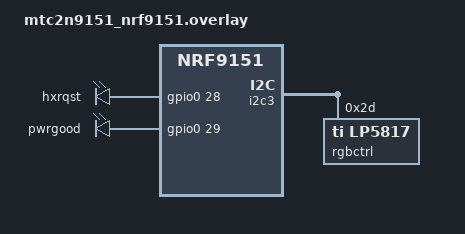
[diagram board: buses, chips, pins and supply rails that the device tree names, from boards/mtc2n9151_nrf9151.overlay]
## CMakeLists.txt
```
# SPDX-License-Identifier: Apache-2.0

cmake_minimum_required(VERSION 3.20.0)

# Pull in the out-of-tree RGB indicator driver module (LP5817 driver + DT binding)
list(APPEND EXTRA_ZEPHYR_MODULES "C:/NCS/loouq/modules/rgb-indicator")

find_package(Zephyr REQUIRED HINTS $ENV{ZEPHYR_BASE})
project(rgbindicator VERSION 1.0.0 DESCRIPTION "RGB indicator using TI LED controller")

set(LOOUQ_BASE "C:/NCS/loouq")
message(STATUS "Zephyr at: ${ZEPHYR_BASE}")
message(STATUS "LooUQ at: ${LOOUQ_BASE}")

# *** extract all CMAKE variables to output ***
# get_cmake_property(all_vars VARIABLES)
# foreach(var ${all_vars})
#     message(STATUS "VAR: ${var}=${${var}}")
# endforeach()

target_sources(app PRIVATE src/main.c)
```

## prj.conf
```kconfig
CONFIG_GPIO=y
CONFIG_I2C=y
CONFIG_RGB_INDICATOR=y
```

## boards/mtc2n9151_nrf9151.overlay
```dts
//#include "../mtc2n9151_pin-disable.overlay"

/ {
    pins {
        compatible = "gpio-leds";

        hxrqst: pin_1 {
            gpios = <&gpio0 28 GPIO_ACTIVE_HIGH>;
        };
        pwrgood: pin_0 {
            gpios = <&gpio0 29 GPIO_ACTIVE_HIGH>;
        };

        // pt0: pt_0 {
            // gpios = <&gpio0 0 GPIO_ACTIVE_HIGH>;
            // gpios = <&gpio0 8 GPIO_ACTIVE_HIGH>;
            // gpios = <&gpio0 16 GPIO_ACTIVE_HIGH>;
            // gpios = <&gpio0 24 GPIO_ACTIVE_HIGH>;
        // };

        // pt1: pt_1 {
        //     gpios = <&gpio0 1 GPIO_ACTIVE_HIGH>;
            // gpios = <&gpio0 9 GPIO_ACTIVE_HIGH>;
            // gpios = <&gpio0 17 GPIO_ACTIVE_HIGH>;
            // gpios = <&gpio0 25 GPIO_ACTIVE_HIGH>;
        // };

        // pt2: pt_2 {
        //     gpios = <&gpio0 2 GPIO_ACTIVE_HIGH>;
            // gpios = <&gpio0 10 GPIO_ACTIVE_HIGH>;
            // gpios = <&gpio0 18 GPIO_ACTIVE_HIGH>;
            // gpios = <&gpio0 26 GPIO_ACTIVE_HIGH>;
        // };

        // pt3: pt_3 {
        //     gpios = <&gpio0 3 GPIO_ACTIVE_HIGH>;
            // gpios = <&gpio0 11 GPIO_ACTIVE_HIGH>;
            // gpios = <&gpio0 19 GPIO_ACTIVE_HIGH>;
            // gpios = <&gpio0 27 GPIO_ACTIVE_HIGH>;
        // };

        // pt4: pt_4 {
        //     gpios = <&gpio0 4 GPIO_ACTIVE_HIGH>;
            // gpios = <&gpio0 12 GPIO_ACTIVE_HIGH>;
            // gpios = <&gpio0 20 GPIO_ACTIVE_HIGH>;
            // gpios = <&gpio0 28 GPIO_ACTIVE_HIGH>;
        // };

        // pt5: pt_5 {
        //     gpios = <&gpio0 5 GPIO_ACTIVE_HIGH>;
            // gpios = <&gpio0 13 GPIO_ACTIVE_HIGH>;
            // gpios = <&gpio0 21 GPIO_ACTIVE_HIGH>;
            // gpios = <&gpio0 29 GPIO_ACTIVE_HIGH>;
        // };

        // pt6: pt_6 {
        //     gpios = <&gpio0 6 GPIO_ACTIVE_HIGH>;
        //     // gpios = <&gpio0 14 GPIO_ACTIVE_HIGH>;
        //     // gpios = <&gpio0 22 GPIO_ACTIVE_HIGH>;
        //     // gpios = <&gpio0 30 GPIO_ACTIVE_HIGH>;
        // };

        // pt7: pt_7 {
        //     gpios = <&gpio0 7 GPIO_ACTIVE_HIGH>;
            // gpios = <&gpio0 15 GPIO_ACTIVE_HIGH>;
            // gpios = <&gpio0 23 GPIO_ACTIVE_HIGH>;
            // gpios = <&gpio0 31 GPIO_ACTIVE_HIGH>;
        // };
    };


    // aliases {
    //     pt0 = &pt6;
    //     pt1 = &pt6;
    //     pt2 = &pt6;
    //     pt3 = &pt6;
    //     pt4 = &pt6;
    //     pt5 = &pt6;
    //     // pt6
    //     pt7 = &pt6;
    // };
};

// &i2c2 {
//     bmp: bmp581@47 {
//         compatible = "bosch,bmp581";
//         reg = <0x47>;
//     };

//     sht: sht45@44 {
//         compatible = "sensirion,sht4x";
//         reg = <0x44>;
//         repeatability = <0>;
//     };
// };


&i2c3 {                                                 // RGB on the HX bus
    rgbctrl: rgb-indicator@2d {
        compatible = "ti,lp5817";
        reg = <0x2d>;
        max-current = <1>;
        dot-current = [80 80 80];        /* 0x80 = 128 per channel */
        color-mapping = [00 01 02];      /* R->OUT0  G->OUT1  B->OUT2 (straight wiring) */
    };
};
```

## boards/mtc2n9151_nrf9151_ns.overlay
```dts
//#include "../mtc2n9151_pin-disable.overlay"

/ {
    pins {
        compatible = "gpio-leds";

        hxctrl: pin_0 {
            gpios = <&gpio0 29 GPIO_ACTIVE_HIGH>;
        };

    };
    keys {
        compatible = "gpio-keys";
        hxrqst: pin_1 {
            gpios = <&gpio0 28 GPIO_ACTIVE_HIGH>;
        };
    };

};

// &i2c2 {
//     bmp: bmp581@47 {
//         compatible = "bosch,bmp581";
//         reg = <0x47>;
//     };

//     sht: sht45@44 {
//         compatible = "sensirion,sht4x";
//         reg = <0x44>;
//         repeatability = <0>;
//     };
// };


&i2c3 {                                                 // RGB on the HX bus
    rgbctrl: rgb-indicator@2d {
        compatible = "ti,lp5817";
        reg = <0x2d>;
        max-current = <1>;
        dot-current = [80 80 80];        /* 0x80 = 128 per channel */
        color-mapping = [00 01 02];      /* R->OUT0  G->OUT1  B->OUT2 (straight wiring) */
    };
};
```

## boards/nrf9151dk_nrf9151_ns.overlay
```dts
/ {
    pins {
        compatible = "gpio-leds";

        pt2: pt_2 {
            gpios = <&gpio0 2 GPIO_ACTIVE_HIGH>;
        };

        pt3: pt_3 {
            gpios = <&gpio0 3 GPIO_ACTIVE_HIGH>;
        };

        pt6: pt_6 {
            gpios = <&gpio0 6 GPIO_ACTIVE_HIGH>;
        };

        pt7: pt_7 {
            gpios = <&gpio0 7 GPIO_ACTIVE_HIGH>;
        };
    };


    aliases {
        pt0 = &led0;
        pt1 = &led1;
        pt4 = &led2;
        pt5 = &led3;
    };
};
```

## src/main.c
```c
/*
 * Copyright (c) 2025 LooUQ Incorporated
 * SPDX-License-Identifier: Apache-2.0
 */

#include <stdio.h>
#include <zephyr/kernel.h>
#include <zephyr/device.h>
#include <zephyr/drivers/gpio.h>

#include <zephyr/logging/log.h>
LOG_MODULE_REGISTER(rgbi, LOG_LEVEL_INF);

#include <rgb_indicator.h>

#define LOOP_SLEEP_MS 1000
#define COLOR_SLEEP_MS 500

#define HXRQST_NODE DT_NODELABEL(hxrqst)
#define HXCTRL_NODE DT_NODELABEL(hxctrl)
#define RGBCTRL_NODE DT_NODELABEL(rgbctrl)

static const struct gpio_dt_spec hxrqst = GPIO_DT_SPEC_GET(HXRQST_NODE, gpios);
static const struct gpio_dt_spec hxctrl = GPIO_DT_SPEC_GET(HXCTRL_NODE, gpios);
static const struct device *const rgbi = DEVICE_DT_GET(RGBCTRL_NODE);

// #define BMP_NODE DT_NODELABEL(bmp)
// #define SHT_NODE DT_NODELABEL(sht)
// static const struct i2c_dt_spec bmp_snsr = I2C_DT_SPEC_GET(BMP_NODE);
// static const struct i2c_dt_spec sht_snsr = I2C_DT_SPEC_GET(SHT_NODE);

// static const struct led_rgb LED_OFF = RGB(0,0,0);
// static const struct led_rgb LED_RED = RGB(100,0,0);
// static const struct led_rgb LED_GREEN = RGB(0,100,0);
// static const struct led_rgb LED_BLUE = RGB(0,0,100);

static const struct led_rgb colors[] = {
    RGB(0, 0, 0),
    RGB(100, 0, 0),         /* red */
    RGB(0, 0, 0),
    RGB(0, 100, 0),         /* green */
    RGB(0, 0, 0),
    RGB(0, 0, 100),         /* blue */
    RGB(0, 0, 0),
    RGB(100, 100, 100),     /* white */
    RGB(0, 0, 0),
    RGB(100, 100, 0),       /* yellow */ 
    RGB(0, 0, 0),
    RGB(0, 100, 100),       /* cyan */
    RGB(0, 0, 0),
    RGB(100, 0, 100),       /* magenta */
    RGB(0, 0, 0)
};

int main(void)
{
    int ret;
    int loopcount = 0;

    printf("Hello %s, welcome to the IoT world and watch out for green flashes on the horizon! \r\n", CONFIG_BOARD_TARGET);

    if (!gpio_is_ready_dt(&hxrqst) ||
        !gpio_is_ready_dt(&hxctrl) ||
        !device_is_ready(rgbi)
       )
    {
        LOG_ERR("Required devices not ready");
        return 0;
    }

    ret  = gpio_pin_configure_dt(&hxrqst, GPIO_OUTPUT_ACTIVE) < 0 ? 1 : 0;
    ret += gpio_pin_configure_dt(&hxctrl, GPIO_OUTPUT_ACTIVE) < 0 ? 1 : 0;
    if (ret != 0)
    {
        LOG_ERR("Unable to configure I/O");
        return 0;
    }

    for (size_t i = 0; i < sizeof(colors)/sizeof(struct led_rgb); i++)       // cycle through primary/secondary colors
    {
        rgbi_set_color(rgbi, &colors[i]);
        k_msleep(COLOR_SLEEP_MS);
    }

    while (1)
    {
        ret =  gpio_pin_toggle_dt(&hxrqst) < 0 ? 1 : 0;
        ret += gpio_pin_toggle_dt(&hxctrl) < 0 ? 1 : 0;
        if (ret != 0)
        {
            LOG_ERR("I/O error on pin output");
            return 0;
        }

        loopcount++;

        int colorIndx = loopcount % (sizeof(colors)/sizeof(struct led_rgb));
        rgbi_set_color(rgbi, &colors[colorIndx]);

        printf("Loops: %d (%d)\n", loopcount, colorIndx);
        k_msleep(LOOP_SLEEP_MS);
    }
    return 0;
}
```

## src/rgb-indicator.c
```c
/*
 * Copyright 2025 LooUQ Incorporated
 *
 * SPDX-License-Identifier: Apache-2.0
 */

#include <zephyr/kernel.h>
#include <zephyr/drivers/i2c.h>
#include <zephyr/sys_clock.h>

#include "rgb-indicator.h"

#include <zephyr/logging/log.h>
LOG_MODULE_REGISTER(rgb_indicator);

const uint8_t dot_current[] = { 128, 128, 128 };                                // relative brightness of each RGB channel

/* Private service function declarations
 * -------------------------------------------------------------------------------------------- */
static int lp5817_init(const struct i2c_dt_spec *rgb_ctrllr);
static void lp5817_setColor(const struct i2c_dt_spec *rgb_ctrllr, uint8_t red, uint8_t green, uint8_t blue);
static void flashTimerExpiry(struct k_timer *flashTimer);                       // ISR for timer expiry
static void flashDisplay_handler(struct k_work *work);                          // workqueue handler for flash actions
static inline bool isFlashing(rgb_indicator_t * indicator);                     // quick check for active flash session


/* ------------------------------------------------------------------------------------------------
 * Public API
 * --------------------------------------------------------------------------------------------- */

/**
 * @brief Initialize RGB indicator device and driver
 * 
 * @param rgb_dev TI LP5817 RGB controller device 
 * @param rgbi RGB indicator struct holding display parameters
 * @return int 0 = success
 */
int rgbi_init(const struct i2c_dt_spec *rgb_dev, rgb_indicator_t * rgbi)
{
    int ret = -1;

    if (lp5817_init(rgb_dev) == 0)                              // initialize/validate LP5817 before building object
    {
        ret = 0;                                                // clear err return
        rgbi->rgbdev = rgb_dev;

        k_timer_init(&(rgbi->flashTimer), flashTimerExpiry, NULL);
        k_timer_user_data_set(&(rgbi->flashTimer), rgbi);
        k_work_init(&(rgbi->flashWork), flashDisplay_handler);
    }

    return ret;
}


/**
 * @brief Set the RGB contoller to display a color from a RGB struct
 * 
 * @param rgbi Indicator device to control
 * @param channels RBG structure containing red, green, and blue channels 
 */
void rgbi_setColor(rgb_indicator_t *rgbi, const struct led_rgb * channels)
{
    lp5817_setColor(rgbi->rgbdev, channels->r, channels->g, channels->b);
}


/**
 * @brief Set the RGB contoller to display a color using 3 channel values
 * 
 * @param rgbi Indicator device to control
 * @param red The red channel intensity (scale is 0=off to 255=full intensity)
 * @param green The green channel intensity
 * @param blue The blue channel intensity
 */
void rgbi_setColorFromPixels(rgb_indicator_t *rgbi, rgbi_color red, rgbi_color green, rgbi_color blue)
{
    lp5817_setColor(rgbi->rgbdev, red, green, blue);
}


/**
 * @brief Turn indicator off
 *
 * @param rgbi The RGB indicator to actuate
 */
void rgbi_off(rgb_indicator_t *rgbi)
{
    if (!isFlashing(rgbi))                                       // do not change indicator if flash sequence underway
    {
        rgbi_setColorFromPixels(rgbi, 0, 0, 0);
    }
}


/**
 * @brief Setup/initiate a indicator flash sequence
 * 
 * @param rgbi The RGB indicator to actuate
 * @param colors The color set to display when flash indicates ON
 * @param onDuration The amount of time the indicator is on
 * @param offDuration The amount of time the indicator is off
 * @param count The number of "on" flashes to display, if count==0 the flash sequence continues until cancelled
 */
void rgbi_flash(rgb_indicator_t *rgbi, struct led_rgb * pixels, k_timeout_t onDuration, k_timeout_t offDuration, uint8_t count)
{
    rgbi->onDuration = onDuration;
    rgbi->offDuration = offDuration;
    rgbi->flashesAsked = count;                                        // number of ON pulses OR 0==continuous
    rgbi->flashesPerformed = 0;
    memcpy(&(rgbi->pixels), pixels, sizeof(struct led_rgb));           // copy pixels into object (for next flash ON event)

    rgbi_setColor(rgbi, pixels);                                       // start the sequence, the flashExpiry() callback will take it from here
    k_timer_start(&(rgbi->flashTimer), rgbi->onDuration, K_NO_WAIT);
    rgbi->flashState = 1;
}


/**
 * @brief Let caller know if the indicator in busy displaying a flash sequence
 * 
 * @param rgbi The RGB indicator to actuate
 * @return true Flash sequence is underway, could be continuous
 * @return false The indicator is idle (not executing a flash sequence)
 */
bool rgbi_isBusy(rgb_indicator_t *rgbi)
{
    return isFlashing(rgbi);
}


/**
 * @brief Cancel flash sequence, if underway, and turn indicator off
 * 
 * @param rgbi The RGB indicator to actuate
 */
void rgbi_cancel(rgb_indicator_t *rgbi)
{
    k_timer_stop(&(rgbi->flashTimer));                         // stop timer, prevent expiry
    rgbi->onDuration = K_NO_WAIT;                              // clear flashing: onDuration==0 indicates idle
    rgbi_off(rgbi);                                            // idle state is LED OFF
}


/* Private service functions definitions
 * --------------------------------------------------------------------------------------------- */

 /**
 * @brief Initialize TI LP5817 chip for use
 * 
 * @param rgb_ctrl The device spec for the RGB LED controller 
 * @return int 0=success
 */
static int lp5817_init(const struct i2c_dt_spec *rgb_ctrllr)
{
	int ret;
    uint8_t cmd[2];

    /* Write CHIP_EN = 1 to enable controller
     * Set max current (chip and ouputs)
     * Enable outputs
     * Send UPDATE_CMD to activate configuration
     */

    if (!device_is_ready(rgb_ctrllr->bus)) {
        LOG_ERR("I2C bus %s is not ready!\n\r",rgb_ctrllr->bus->name);
        return 0;
    }

    cmd[0] = LP5817_REG_CHIPENABLE;
    cmd[1] = LP5817_CMD_CHIPENABLE;
    ret = i2c_write_dt(rgb_ctrllr, cmd, sizeof(cmd));
    if (ret != 0)
    {
        LOG_ERR("Failed to write chip enable (%x) to LP5817@%x err=%d\r\n", cmd[0], rgb_ctrllr->addr, ret);
    }

    cmd[0] = LP5817_REG_MAXCURRENT;
    cmd[1] = LP5817_CMD_MAXCURRENT;
    ret = i2c_write_dt(rgb_ctrllr, cmd, sizeof(cmd));
    if (ret != 0)
    {
        LOG_ERR("Failed to set LP5817 chip-level max current\r\n");
    }

    ret = 0;
    for (size_t i = 0; i < 3; i++)
    {
        cmd[0] = LP5817_REG_DOTCURRENT_0 + i;
        cmd[1] = dot_current[i];                                        // apply dot (channel) configured current (brightness adjustment)
        ret += i2c_write_dt(rgb_ctrllr, cmd, sizeof(cmd));
    }
    if (ret != 0)
    {
        LOG_ERR("Failed to set LP5817 DOT (channel) current\r\n");
    }

    cmd[0] = LP5817_REG_OUTENABLE;
    cmd[1] = LP5817_CMD_OUTENABLE;
    ret = i2c_write_dt(rgb_ctrllr, cmd, sizeof(cmd));
    if (ret != 0)
    {
        LOG_ERR("Failed to enable channels\r\n");
    }


    lp5817_setColor(rgb_ctrllr, 0, 0, 0);

    cmd[0] = LP5817_REG_UPDATE;
    cmd[1] = LP5817_CMD_UPDATE;
    ret = i2c_write_dt(rgb_ctrllr, cmd, sizeof(cmd));
    if (ret != 0)
    {
        LOG_ERR("Failed to apply settings to LP5817\r\n");
    }

    // uint8_t val;
    // i2c_reg_read_byte_dt(rgb_ctrllr, LP5817_REG_OUTENABLE, &val);
    // if (val != 0)
    // {
    //     LOG_WRN("Warning: LP5817 is not enabled\r\n");
    // }

    return ret;
}


static void lp5817_setColor(const struct i2c_dt_spec *rgb_ctrllr, uint8_t red, uint8_t green, uint8_t blue)
{
   	int ret;
    uint8_t cmd[2];

    // per TI documentation 0x18, 0x 19, 0x1a. But doesn't seem to be that way
    // cmd[0] = LP5817_REG_INTENSITY0;      // red
    // cmd[0] = LP5817_REG_INTENSITY1;      // green
    // cmd[0] = LP5817_REG_INTENSITY2;      // blue

    cmd[0] = LP5817_REG_INTENSITY2;
    cmd[1] = red;
    ret = i2c_write_dt(rgb_ctrllr, cmd, sizeof(cmd));

    cmd[0] = LP5817_REG_INTENSITY0;
    cmd[1] = green;
    ret = i2c_write_dt(rgb_ctrllr, cmd, sizeof(cmd));

    cmd[0] = LP5817_REG_INTENSITY1;
    cmd[1] = blue;
    ret = i2c_write_dt(rgb_ctrllr, cmd, sizeof(cmd));

    if (ret != 0)
    {
    	LOG_ERR("Could not update indicator");
    }

}


/**
 * @brief ISR to service end of flash duration
 * 
 * @param flashTimer Timer object
 */
static void flashTimerExpiry(struct k_timer *flashTimer)
{
    rgb_indicator_t * rgbi = (rgb_indicator_t *)k_timer_user_data_get(flashTimer);     // get rgb indicator object from timer
    k_work_submit(&(rgbi->flashWork));                                                 // submit the work item to system WQ to update flash sequence
}


/**
 * @brief Handler to perform RGB indicator update (flash ON>>OFF or OFF>>ON)
 * 
 * @param work workqueue item to process
 */
static void flashDisplay_handler(struct k_work *work)
{
    rgb_indicator_t *rgbi = CONTAINER_OF(work, rgb_indicator_t, flashWork);            // get parent structure: rgb indicator struct
    // rgb_indicator_t * indicator = (rgb_indicator_t *)k_timer_user_data_get(flashTimer);

    if (rgbi->onDuration.ticks > 0)
    {
        if (rgbi->flashState)                                              // is ON currently
        {
            rgbi_setColorFromPixels(rgbi, 0, 0, 0);                        // can't use rgbi_off inside flash sequence
            rgbi->flashState = 0;
            rgbi->flashesPerformed++;                                      // completed an ON flash

            if (rgbi->flashesPerformed < rgbi->flashesAsked ||        // still flashes to perform
                rgbi->flashesAsked == 0)                                   // OR IF continuous flash sequence
            {
                k_timer_start(&(rgbi->flashTimer), rgbi->offDuration, K_NO_WAIT);    // wait out OFF (for next ON event)
            }
            else                                                                // done with flash sequence, reset
            {
                rgbi->flashesAsked = 0;                                    
                rgbi->flashesPerformed = 0;
                rgbi->onDuration = K_NO_WAIT;                              // signal done
            }
        }
        else                                                                    // indicator is OFF
        {
            rgbi->flashState = 1;
            if (rgbi->flashesPerformed < rgbi->flashesAsked)
            {
                rgbi_setColor(rgbi, &(rgbi->pixels));                 // turn indicator ON
                k_timer_start(&(rgbi->flashTimer), rgbi->onDuration, K_NO_WAIT);
            }
        }
    }
}


/**
 * @brief Inline function to determine if the indicator is currently busy with previously issued flash sequence command
 * 
 * @param rgbi RGB indicator device
 * @return true Indicator is busy 
 * @return false Indicator is idle
 */
static inline bool isFlashing(rgb_indicator_t * rgbi)
{
    return rgbi->onDuration.ticks > 0;
}
```

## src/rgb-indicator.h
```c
/*
 * Copyright 2025 LooUQ Incorporated
 *
 * SPDX-License-Identifier: Apache-2.0
 */

#ifndef RGB_INDICATOR 
#define RGB_INDICATOR 

#include <stdlib.h>
#include <stdint.h>
#include <stdbool.h>
#include <zephyr/sys_clock.h>
#include <zephyr/kernel.h>
#include <zephyr/drivers/i2c.h>


/* Temporary channel assignments, board issue
 * Out-0 = Green, Out-1 = Blue, Out-2 = Red
 * Normal is Red/Green/Blue
 */

#define LP5817_REG_CHIPENABLE 0x00
#define LP5817_REG_MAXCURRENT 0x01
#define LP5817_REG_OUTENABLE 0x02
#define LP5817_REG_DOTCURRENT_0 0x14
#define LP5817_REG_DOTCURRENT_1 0x15
#define LP5817_REG_DOTCURRENT_2 0x16
#define LP5817_REG_UPDATE 0x0f

#define LP5817_REG_INTENSITY0 0x18
#define LP5817_REG_INTENSITY1 0x19
#define LP5817_REG_INTENSITY2 0x1a

#define LP5817_CMD_CHIPENABLE 0x01
#define LP5817_CMD_MAXCURRENT 0x01
#define LP5817_CMD_MAXCURRENT_0 0xff
#define LP5817_CMD_MAXCURRENT_1 0xcc
#define LP5817_CMD_MAXCURRENT_2 0xcc
#define LP5817_CMD_OUTENABLE 0X07
#define LP5817_CMD_UPDATE 0x55

struct led_rgb 
{
	uint8_t r;              // red channel
	uint8_t g;              // green channel
	uint8_t b;              // blue channel
};

#define RGB(_r, _g, _b) {.r = (_r), .g = (_g), .b = (_b)}
#define CREATE_RGB_PIXELS(_p,_r,_g,_b)  struct led_rgb _p = { .r = _r, .g = _g, .b = _b };


typedef uint8_t rgbi_color;

typedef struct _rgb_indicator
{
    const struct i2c_dt_spec *rgbdev;
    uint8_t brightness;                                 // 0-255, adj color channel 0-99 input to physical chip intensity
    struct led_rgb pixels;                              // stay consistent with Zephyr library led_strip.h
    uint8_t flashesAsked;
    uint8_t flashesPerformed;
    k_timeout_t onDuration;
    k_timeout_t offDuration;
    struct k_timer flashTimer;
    uint8_t flashState;
    struct k_work flashWork;
} rgb_indicator_t;


/**
 * @brief Initialize RGB indicator hardware and driver 
 * 
 * @param rgb_ctrllr Physical RGB controller devices
 * @param rgbi RGB indicator structure
 * @return int Error indicator, 0=success
 */
int rgbi_init(const struct i2c_dt_spec *rgb_ctrllr, rgb_indicator_t * rgbi);


/**
 * @brief Set the color of the display using a led_rgb struct
 * 
 * @param indicator Device spec pointer to the indicator to operate
 * @param pixels The structure containing the red, green, and blue color pixels.
 */
void rgbi_setColor(rgb_indicator_t * rgbi, const struct led_rgb * pixels);                                 // set color and display


/**
 * @brief Set the color of the display using individual color values
 * 
 * @param indicator Device spec pointer to the indicator to operate
 * @param red Brightness of the red channel 0 (off) to 255 (full brightness)
 * @param green Brightness of the green channel 0 (off) to 255 (full brightness)
 * @param blue Brightness of the blue channel 0 (off) to 255 (full brightness)
 */
void rgbi_setColorFromPixels(rgb_indicator_t * rgbi, rgbi_color red, rgbi_color green, rgbi_color blue);   // set color and display


/**
 * @brief Shut indicator off, all channels to 0
 * 
 * @param indicator Device spec pointer to the indicator to operate
 */
void rgbi_off(rgb_indicator_t * rgbi);                                                                     // set all channels to 0 = OFF


/**
 * @brief Perform (display) a flash sequence on the indicator
 * 
 * @param indicator Device spec pointer to the indicator to operate
 * @param pixels The color to display when the indicator is in the ON state
 * @param onDuration The period of time the indicator should be ON in a flash iteration
 * @param offDuration The period of time the indicator should be OFF in a flash iteration
 * @param count The number of flashes, ON/OFF sequences, that should be performed.
 */
void rgbi_flash(rgb_indicator_t * rgbi, struct led_rgb * pixels, k_timeout_t onDuration, k_timeout_t offDuration, uint8_t count);


/**
 * @brief Perform a continuous flash sequence until manually cancelled
 * 
 * @param indicator Device spec pointer to the indicator to operate
 * @param pixels The color to display when the indicator is in the ON state
 * @param onDuration The period of time the indicator should be ON in a flash iteration
 * @param offDuration The period of time the indicator should be OFF in a flash iteration
 */
void rgbi_flash_continuous(rgb_indicator_t * rgbi, struct led_rgb pixels, k_timeout_t onDuration, k_timeout_t offDuration);


/**
 * @brief Stop/cancel a flash sequence. Required to end a continuous flash sequence, but can cut a normal count flash short. 
 * 
 * @param indicator Device spec pointer to the indicator to operate
 */
void rgbi_cancel(rgb_indicator_t * rgbi);


/**
 * @brief Determine if a flash sequence is underway. 
 * 
 * @param indicator Device spec pointer to the indicator to operate
 * @return true A flash sequence is running, can be a normal count flash or continuous
 * @return false The indicator is idle and not flashing.
 * 
 * @note The indicator may be ON (solid) or OFF. If your application needs to know ON
 * state color, you will need to record this information in your application.
 */
bool rgbi_isBusy(rgb_indicator_t * rgbi);

#endif
```

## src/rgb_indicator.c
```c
/*
 * Copyright 2025 LooUQ Incorporated
 *
 * SPDX-License-Identifier: Apache-2.0
 */

#include <zephyr/kernel.h>
#include <zephyr/drivers/i2c.h>
#include <zephyr/sys_clock.h>

#include "rgb_indicator.h"

#include <zephyr/logging/log.h>
LOG_MODULE_REGISTER(rgb_indicator);

const uint8_t dot_current[] = { 128, 128, 128 };                                // relative brightness of each RGB channel

/* Private service function declarations
 * -------------------------------------------------------------------------------------------- */
static int lp5817_init(const struct i2c_dt_spec *rgb_ctrllr);
static void flashTimerExpiry(struct k_timer *flashTimer);                       // ISR for timer expiry
static void flashDisplay_handler(struct k_work *work);                          // workqueue handler for flash actions
static inline bool isFlashing(rgb_indicator_t * indicator);                     // quick check for active flash session


/* ------------------------------------------------------------------------------------------------
 * Public API
 * --------------------------------------------------------------------------------------------- */

/**
 * @brief Initialize RGB indicator device and driver
 * 
 * @param rgb_dev TI LP5817 RGB controller device 
 * @param rgbi RGB indicator struct holding display parameters
 * @return int 0 = success
 */
int rgbi_init(const struct i2c_dt_spec *rgb_dev, rgb_indicator_t * rgbi)
{
    int ret = -1;

    if (lp5817_init(rgb_dev) == 0)                              // initialize/validate LP5817 before building object
    {
        ret = 0;                                                // clear err return
        rgbi->rgbdev = rgb_dev;

        k_timer_init(&(rgbi->flashTimer), flashTimerExpiry, NULL);
        k_timer_user_data_set(&(rgbi->flashTimer), rgbi);
        k_work_init(&(rgbi->flashWork), flashDisplay_handler);
    }

    return ret;
}


/**
 * @brief Set the RGB contoller to display a color from a RGB struct
 * 
 * @param rgbi Indicator device to control
 * @param channels RBG structure containing red, green, and blue channels 
 */
void rgbi_setColor(rgb_indicator_t *rgbi, const struct led_rgb * channels)
{
   	int ret;
    uint8_t cmd[2];

    // per TI documentation 0x18, 0x 19, 0x1a. But doesn't seem to be that way
    // cmd[0] = LP5817_REG_INTENSITY0;      // red
    // cmd[0] = LP5817_REG_INTENSITY1;      // green
    // cmd[0] = LP5817_REG_INTENSITY2;      // blue

    cmd[0] = LP5817_REG_INTENSITY2;
    cmd[1] = channels->r;
    ret = i2c_write_dt(rgbi->rgbdev, cmd, sizeof(cmd));

    cmd[0] = LP5817_REG_INTENSITY0;
    cmd[1] = channels->g;
    ret += i2c_write_dt(rgbi->rgbdev, cmd, sizeof(cmd));

    cmd[0] = LP5817_REG_INTENSITY1;
    cmd[1] = channels->b;
    ret += i2c_write_dt(rgbi->rgbdev, cmd, sizeof(cmd));

    if (ret != 0)
    {
    	LOG_ERR("Could not update indicator");
    }
}


/**
 * @brief Set the RGB contoller to display a color using 3 channel values
 * 
 * @param rgbi Indicator device to control
 * @param red The red channel intensity (scale is 0=off to 255=full intensity)
 * @param green The green channel intensity
 * @param blue The blue channel intensity
 */
void rgbi_setColorFromPixels(rgb_indicator_t *rgbi, rgbi_color red, rgbi_color green, rgbi_color blue)
{
    CREATE_RGB_PIXELS(pixels, red, green, blue);
    rgbi_setColor(rgbi, &pixels);
}


/**
 * @brief Turn indicator off
 *
 * @param rgbi The RGB indicator to actuate
 */
void rgbi_off(rgb_indicator_t *rgbi)
{
    if (!isFlashing(rgbi))                                       // do not change indicator if flash sequence underway
    {
        rgbi_setColorFromPixels(rgbi, 0, 0, 0);
    }
}


/**
 * @brief Setup/initiate a indicator flash sequence
 * 
 * @param rgbi The RGB indicator to actuate
 * @param colors The color set to display when flash indicates ON
 * @param onDuration The amount of time the indicator is on
 * @param offDuration The amount of time the indicator is off
 * @param count The number of "on" flashes to display, if count==0 the flash sequence continues until cancelled
 */
void rgbi_flash(rgb_indicator_t *rgbi, struct led_rgb * pixels, k_timeout_t onDuration, k_timeout_t offDuration, uint8_t count)
{
    rgbi->onDuration = onDuration;
    rgbi->offDuration = offDuration;
    rgbi->flashesAsked = count;                                        // number of ON pulses OR 0==continuous
    rgbi->flashesPerformed = 0;
    memcpy(&(rgbi->pixels), pixels, sizeof(struct led_rgb));           // copy pixels into object (for next flash ON event)

    rgbi_setColor(rgbi, pixels);                                       // start the sequence, the flashExpiry() callback will take it from here
    k_timer_start(&(rgbi->flashTimer), rgbi->onDuration, K_NO_WAIT);
    rgbi->flashState = 1;
}


/**
 * @brief Let caller know if the indicator in busy displaying a flash sequence
 * 
 * @param rgbi The RGB indicator to actuate
 * @return true Flash sequence is underway, could be continuous
 * @return false The indicator is idle (not executing a flash sequence)
 */
bool rgbi_isBusy(rgb_indicator_t *rgbi)
{
    return isFlashing(rgbi);
}


/**
 * @brief Cancel flash sequence, if underway, and turn indicator off
 * 
 * @param rgbi The RGB indicator to actuate
 */
void rgbi_cancel(rgb_indicator_t *rgbi)
{
    k_timer_stop(&(rgbi->flashTimer));                         // stop timer, prevent expiry
    rgbi->onDuration = K_NO_WAIT;                              // clear flashing: onDuration==0 indicates idle
    rgbi_off(rgbi);                                            // idle state is LED OFF
}



/* Private service functions definitions
 * --------------------------------------------------------------------------------------------- */

 /**
 * @brief Initialize TI LP5817 chip for use
 * 
 * @param rgb_ctrl The device spec for the RGB LED controller 
 * @return int 0=success
 */
static int lp5817_init(const struct i2c_dt_spec *rgb_ctrllr)
{
	int ret;
    uint8_t cmd[2];

    /* Write CHIP_EN = 1 to enable controller
     * Set max current (chip and ouputs)
     * Enable outputs
     * Send UPDATE_CMD to activate configuration
     */

    if (!device_is_ready(rgb_ctrllr->bus)) {
        LOG_ERR("I2C bus %s is not ready!\n\r",rgb_ctrllr->bus->name);
        return 0;
    }

    cmd[0] = LP5817_REG_CHIPENABLE;
    cmd[1] = LP5817_CMD_CHIPENABLE;
    ret = i2c_write_dt(rgb_ctrllr, cmd, sizeof(cmd));
    if (ret != 0)
    {
        LOG_ERR("Failed to write chip enable (%x) to LP5817@%x err=%d\r\n", cmd[0], rgb_ctrllr->addr, ret);
    }

    cmd[0] = LP5817_REG_MAXCURRENT;
    cmd[1] = LP5817_CMD_MAXCURRENT;
    ret = i2c_write_dt(rgb_ctrllr, cmd, sizeof(cmd));
    if (ret != 0)
    {
        LOG_ERR("Failed to set LP5817 chip-level max current\r\n");
    }

    ret = 0;
    for (size_t i = 0; i < 3; i++)
    {
        cmd[0] = LP5817_REG_DOTCURRENT_0 + i;
        cmd[1] = dot_current[i];                                        // apply dot (channel) configured current (brightness adjustment)
        ret += i2c_write_dt(rgb_ctrllr, cmd, sizeof(cmd));
    }
    if (ret != 0)
    {
        LOG_ERR("Failed to set LP5817 DOT (channel) current\r\n");
    }

    cmd[0] = LP5817_REG_OUTENABLE;
    cmd[1] = LP5817_CMD_OUTENABLE;
    ret = i2c_write_dt(rgb_ctrllr, cmd, sizeof(cmd));
    if (ret != 0)
    {
        LOG_ERR("Failed to enable channels\r\n");
    }

    cmd[0] = LP5817_REG_UPDATE;
    cmd[1] = LP5817_CMD_UPDATE;
    ret = i2c_write_dt(rgb_ctrllr, cmd, sizeof(cmd));
    if (ret != 0)
    {
        LOG_ERR("Failed to apply settings to LP5817\r\n");
    }

    // uint8_t val;
    // i2c_reg_read_byte_dt(rgb_ctrllr, LP5817_REG_OUTENABLE, &val);
    // if (val != 0)
    // {
    //     LOG_WRN("Warning: LP5817 is not enabled\r\n");
    // }

    return ret;
}


/**
 * @brief ISR to service end of flash duration
 * 
 * @param flashTimer Timer object
 */
static void flashTimerExpiry(struct k_timer *flashTimer)
{
    rgb_indicator_t * rgbi = (rgb_indicator_t *)k_timer_user_data_get(flashTimer);     // get rgb indicator object from timer
    k_work_submit(&(rgbi->flashWork));                                                 // submit the work item to system WQ to update flash sequence
}


/**
 * @brief Handler to perform RGB indicator update (flash ON>>OFF or OFF>>ON)
 * 
 * @param work workqueue item to process
 */
static void flashDisplay_handler(struct k_work *work)
{
    rgb_indicator_t *rgbi = CONTAINER_OF(work, rgb_indicator_t, flashWork);            // get parent structure: rgb indicator struct
    // rgb_indicator_t * indicator = (rgb_indicator_t *)k_timer_user_data_get(flashTimer);

    if (rgbi->onDuration.ticks > 0)
    {
        if (rgbi->flashState)                                              // is ON currently
        {
            rgbi_setColorFromPixels(rgbi, 0, 0, 0);                        // can't use rgbi_off inside flash sequence
            rgbi->flashState = 0;
            rgbi->flashesPerformed++;                                      // completed an ON flash

            if (rgbi->flashesPerformed < rgbi->flashesAsked ||        // still flashes to perform
                rgbi->flashesAsked == 0)                                   // OR IF continuous flash sequence
            {
                k_timer_start(&(rgbi->flashTimer), rgbi->offDuration, K_NO_WAIT);    // wait out OFF (for next ON event)
            }
            else                                                                // done with flash sequence, reset
            {
                rgbi->flashesAsked = 0;                                    
                rgbi->flashesPerformed = 0;
                rgbi->onDuration = K_NO_WAIT;                              // signal done
            }
        }
        else                                                                    // indicator is OFF
        {
            rgbi->flashState = 1;
            if (rgbi->flashesPerformed < rgbi->flashesAsked)
            {
                rgbi_setColor(rgbi, &(rgbi->pixels));                 // turn indicator ON
                k_timer_start(&(rgbi->flashTimer), rgbi->onDuration, K_NO_WAIT);
            }
        }
    }
}


/**
 * @brief Inline function to determine if the indicator is currently busy with previously issued flash sequence command
 * 
 * @param rgbi RGB indicator device
 * @return true Indicator is busy 
 * @return false Indicator is idle
 */
static inline bool isFlashing(rgb_indicator_t * rgbi)
{
    return rgbi->onDuration.ticks > 0;
}
```
